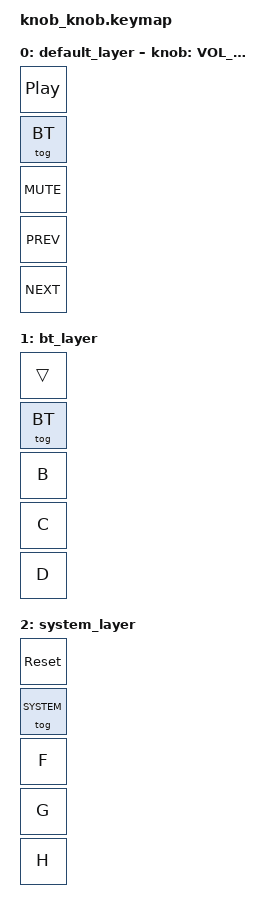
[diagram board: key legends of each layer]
/*
 * Copyright (c) 2023 The ZMK Contributors
 *
 * SPDX-License-Identifier: MIT
 */

#include <behaviors.dtsi>
#include <dt-bindings/zmk/keys.h>
#include <dt-bindings/zmk/bt.h>
#include <dt-bindings/zmk/ext_power.h>

#define DEFAULT 0
#define BT      1
#define SYSTEM  2

/ {

    macros {
        // Hold Tap Macros for Layer
        tog_layer1: tog_layer_1 {
            label = "tog_layer_1";
            compatible = "zmk,behavior-macro";
            #binding-cells = <0>;
            bindings
                = <&macro_tap &tog BT>
                ;
        };

        tog_layer2: tog_layer_2 {
            label = "tog_layer_2";
            compatible = "zmk,behavior-macro";
            #binding-cells = <0>;
            bindings
                = <&macro_tap &tog SYSTEM>
                ;
        };

        // Hold Tap Macros for BT 0
        bt_clr0: bluetooth_clear_0 {
            label = "bluetooth_clear_0";
            compatible = "zmk,behavior-macro";
            #binding-cells = <0>;
            bindings
                = <&macro_tap &bt BT_SEL 0>
                , <&macro_tap &bt BT_CLR>
                ;
        };

        bt_sel0: bluetooth_select_0 {
            label = "bluetooth_select_0";
            compatible = "zmk,behavior-macro";
            #binding-cells = <0>;
            bindings
                = <&macro_tap &bt BT_SEL 0>
                , <&macro_tap &tog BT>
                ;
        };

        // Hold Tap Macros for BT 1
        bt_clr1: bluetooth_clear_1 {
            label = "bluetooth_clear_1";
            compatible = "zmk,behavior-macro";
            #binding-cells = <0>;
            bindings
                = <&macro_tap &bt BT_SEL 1>
                , <&macro_tap &bt BT_CLR>
                ;
        };

        bt_sel1: bluetooth_select_1 {
            label = "bluetooth_select_1";
            compatible = "zmk,behavior-macro";
            #binding-cells = <0>;
            bindings
                = <&macro_tap &bt BT_SEL 1>
                , <&macro_tap &tog BT>
                ;
        };

        // Hold Tap Macros for BT 2
        bt_clr2: bluetooth_clear_2 {
            label = "bluetooth_clear_2";
            compatible = "zmk,behavior-macro";
            #binding-cells = <0>;
            bindings
                = <&macro_tap &bt BT_SEL 2>
                , <&macro_tap &bt BT_CLR>
                ;
        };

        bt_sel2: bluetooth_select_2 {
            label = "bluetooth_select_2";
            compatible = "zmk,behavior-macro";
            #binding-cells = <0>;
            bindings
                = <&macro_tap &bt BT_SEL 2>
                , <&macro_tap &tog BT>
                ;
        };
    };

    behaviors {
        ht_layer: hold_tap_layer_toggle {
            compatible = "zmk,behavior-hold-tap";
            label = "Layer toggle hold tap";
            #binding-cells = <2>;
            tapping-term-ms = <1000>;
            flavor = "tap-preferred";
            bindings = <&tog_layer2>, <&tog_layer1>;
        };

        ht_bt0: hold_tap_bluetooth_0 {
            compatible = "zmk,behavior-hold-tap";
            label = "BT hold tap 0";
            #binding-cells = <2>;
            tapping-term-ms = <2000>;
            flavor = "tap-preferred";
            bindings = <&bt_clr0>, <&bt_sel0>;
        };

        ht_bt1: hold_tap_bluetooth_1 {
            compatible = "zmk,behavior-hold-tap";
            label = "BT hold tap 1";
            #binding-cells = <2>;
            tapping-term-ms = <2000>;
            flavor = "tap-preferred";
            bindings = <&bt_clr1>, <&bt_sel1>;
        };

        ht_bt2: hold_tap_bluetooth_2 {
            compatible = "zmk,behavior-hold-tap";
            label = "BT hold tap 2";
            #binding-cells = <2>;
            tapping-term-ms = <2000>;
            flavor = "tap-preferred";
            bindings = <&bt_clr2>, <&bt_sel2>;
        };
    };

    combos {
        compatible = "zmk,combos";

        // DEFAULT combos
        combo_default_up {
            timeout-ms = <50>;
            key-positions = <0 1>;
            bindings = <&ht_layer 0 0>;
            layers = <0>;
        };
        combo_default_down {
            timeout-ms = <50>;
            key-positions = <0 2>;
            bindings = <&kp C_MUTE>;
            layers = <0>;
        };
        combo_default_left {
            timeout-ms = <50>;
            key-positions = <0 3>;
            bindings = <&kp C_PREV>;
            layers = <0>;
        };
        combo_default_right {
            timeout-ms = <50>;
            key-positions = <0 4>;
            bindings = <&kp C_NEXT>;
            layers = <0>;
        };

        // BT combos
        combo__bt_up {
            timeout-ms = <50>;
            key-positions = <0 1>;
            bindings = <&tog BT>;
            layers = <1>;
        };
        combo__bt_down {
            timeout-ms = <50>;
            key-positions = <0 2>;
            bindings = <&ht_bt1 0 0>;
            layers = <1>;
        };
        combo__bt_left {
            timeout-ms = <50>;
            key-positions = <0 3>;
            bindings = <&ht_bt0 0 0>;
            layers = <1>;
        };
        combo__bt_right {
            timeout-ms = <50>;
            key-positions = <0 4>;
            bindings = <&ht_bt2 0 0>;
            layers = <1>;
        };

        // System combos
        combo__system_up {
            timeout-ms = <50>;
            key-positions = <0 1>;
            bindings = <&tog SYSTEM>;
            layers = <2>;
        };
        combo__system_down {
            timeout-ms = <50>;
            key-positions = <0 2>;
            bindings = <&bootloader>;
            layers = <2>;
        };
        combo__system_left {
            timeout-ms = <50>;
            key-positions = <0 3>;
            bindings = <&ext_power EP_ON>;
            layers = <2>;
        };
        combo__system_right {
            timeout-ms = <50>;
            key-positions = <0 4>;
            bindings = <&ext_power EP_TOG>;
            layers = <2>;
        };

    };

    keymap {
        compatible = "zmk,keymap";

        // Key Ordering (based on `input-gpios` indices): Center, Up, Down, Left, Right
        // Bindings on non-Center keys here don't matter since bindings are actually set within combos due to
        // how the encoder switch works electrically.

        default_layer {
            bindings = < 
                &kp C_PLAY_PAUSE 
                &tog BT 
                &kp C_MUTE 
                &kp C_PREV 
                &kp C_NEXT 
            >;

            sensor-bindings = <&inc_dec_kp C_VOL_UP C_VOL_DN>;
        };

        bt_layer {
            bindings = < 
                &trans  
                &tog BT 
                &kp B
                &kp C
                &kp D
            >;

        };

        system_layer {
            bindings = < 
                &sys_reset 
                &tog SYSTEM 
                &kp F
                &kp G
                &kp H
            >;

        };
    };
};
